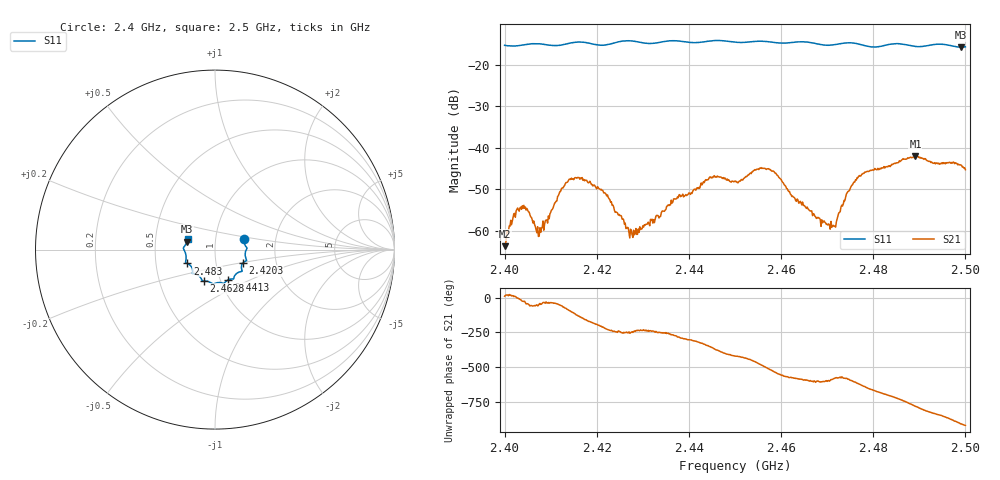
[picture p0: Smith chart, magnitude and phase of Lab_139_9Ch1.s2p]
# Hz S RI R 50
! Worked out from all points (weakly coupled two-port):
!   601 points, 2.4 GHz to 2.5 GHz, reference 50 ohm
!   highest |S21| = -42.08 dB at 2.4892 GHz (marker M1); lowest = -63.7 dB at 2.4 GHz (marker M2)
!   lowest |S11| = -15.8 dB at 2.499 GHz (marker M3), VSWR 1.39, Z = 36.4 + j3.37 ohm
!   |S11| at or under -10 dB: start of sweep to end of sweep
!   S12 and S22 are empty: the file has one direction only
!   S11 on the Smith chart (normalised r, x): 2.4 GHz: 1.37, +0.16; 2.4203 GHz: 1.35, -0.21; 2.4413 GHz: 1.09, -0.38; 2.4628 GHz: 0.83, -0.30; 2.483 GHz: 0.72, -0.11; 2.5 GHz: 0.73, +0.09
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2.4e9  0.1608 0.057  0.000643 0.00013  0 0  0 0
2.403e9  0.167 0.0256  0.00179 -0.000155  0 0  0 0
2.404667e9  0.1743 0.0144  0.00129 -0.00123  0 0  0 0
2.4075e9  0.1779 0.00604  0.000617 -0.000608  0 0  0 0
2.412833e9  0.1694 -0.041  0.00135 -0.00313  0 0  0 0
2.416667e9  0.1762 -0.0615  -0.00344 -0.0025  0 0  0 0
2.420333e9  0.1552 -0.0739  -0.00313 0.00103  0 0  0 0
2.4275e9  0.15 -0.1211  -0.00039 0.000938  0 0  0 0
2.433333e9  0.1081 -0.1484  -0.000484 0.00145  0 0  0 0
2.441333e9  0.0743 -0.168  0.00219 0.0023  0 0  0 0
2.445e9  0.0525 -0.1865  0.00443 7.59e-05  0 0  0 0
2.45e9  0.0293 -0.1837  0.00197 -0.00347  0 0  0 0
2.457333e9  -0.0184 -0.1874  -0.00505 -0.00241  0 0  0 0
2.462833e9  -0.063 -0.1747  -0.00188 0.00169  0 0  0 0
2.466667e9  -0.0742 -0.1674  -0.000778 0.00156  0 0  0 0
2.4715e9  -0.1068 -0.1367  -0.00083 0.000773  0 0  0 0
2.4765e9  -0.1247 -0.1276  -0.00092 0.00428  0 0  0 0
2.483e9  -0.1548 -0.0769  0.00566 0.00184  0 0  0 0
2.483333e9  -0.157 -0.076  0.00587 0.00153  0 0  0 0
2.489167e9  -0.1607 -0.0387  0.00342 -0.00709  0 0  0 0
2.499e9  -0.1556 0.0451  -0.00607 0.00124  0 0  0 0
2.5e9  -0.1526 0.0585  -0.00503 0.00211  0 0  0 0
